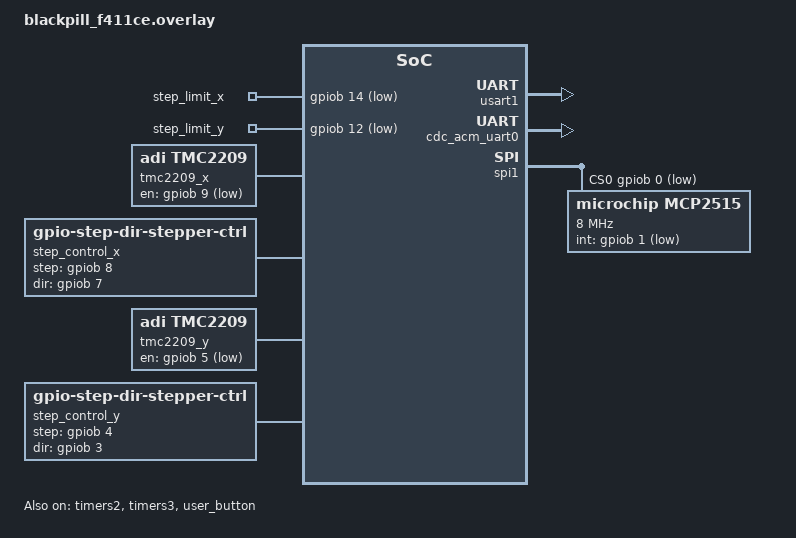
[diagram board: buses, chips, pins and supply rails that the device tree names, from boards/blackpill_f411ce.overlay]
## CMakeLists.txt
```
cmake_minimum_required(VERSION 3.20.0)

find_package(Zephyr REQUIRED HINTS $ENV{ZEPHYR_BASE})

project(gantry)
target_sources(app PRIVATE src/main.c src/steppers.c src/gantry.c)
```

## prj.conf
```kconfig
CONFIG_GPIO=y
CONFIG_LED=y
CONFIG_USB_DEVICE_STACK_NEXT=y
CONFIG_CDC_ACM_SERIAL_INITIALIZE_AT_BOOT=y
CONFIG_STEPPER=y
CONFIG_CAN=y
CONFIG_EVENTS=y
#CONFIG_UART=y
```

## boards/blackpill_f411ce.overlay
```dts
#include <zephyr/dt-bindings/pinctrl/stm32-pinctrl.h>

/ {
  chosen {
    zephyr,console = &cdc_acm_uart0;
    zephyr,shell-uart = &cdc_acm_uart0;
  };

  aliases {
    canbus = &mcp2515;

    steppers-uart = &usart1;

    stepper-driver-x = &tmc2209_x;
    stepper-ctrl-x = &step_control_x;
    stepper-limit-x = &step_limit_x;

    stepper-driver-y = &tmc2209_y;
    stepper-ctrl-y = &step_control_y;
    stepper-limit-y = &step_limit_y;
  };

  buttons {
    compatible = "gpio-keys";

    step_limit_x: limit_x {
      gpios = <&gpiob 14 GPIO_ACTIVE_LOW>;
    };

    step_limit_y: limit_y {
      gpios = <&gpiob 12 GPIO_ACTIVE_LOW>;
    };

  };

  tmc2209_x: stepper-driver-x {
    compatible = "adi,tmc2209";
    en-gpios = <&gpiob 9 GPIO_ACTIVE_LOW>;
  };

  step_control_x: motion-controller-x {
    compatible = "zephyr,gpio-step-dir-stepper-ctrl";
    step-gpios = <&gpiob 8 GPIO_ACTIVE_HIGH>;
    dir-gpios = <&gpiob 7 GPIO_ACTIVE_HIGH>;
    counter = <&counter1>;
    stepper-driver = <&tmc2209_x>;
    invert-direction;
  };

  tmc2209_y: stepper-driver-y {
    compatible = "adi,tmc2209";
    en-gpios = <&gpiob 5 GPIO_ACTIVE_LOW>;
  };

  step_control_y: motion-controller-y {
    compatible = "zephyr,gpio-step-dir-stepper-ctrl";
    step-gpios = <&gpiob 4 GPIO_ACTIVE_HIGH>;
    dir-gpios = <&gpiob 3 GPIO_ACTIVE_HIGH>;
    counter = <&counter2>;
    stepper-driver = <&tmc2209_y>;
    invert-direction;
  };
};

&usart1 {
  status = "okay";
  parity = "none";
  stop-bits = "1";
  data-bits = <8>;
};

&zephyr_udc0 {
  cdc_acm_uart0: cdc_acm_uart0 {
    compatible = "zephyr,cdc-acm-uart";
  };
};

/* 
  Other SPI1 pins:
  PA5 CLK
  PA6 MISO
  PA7 MOSI
*/

&spi1 {
    status = "okay";
    cs-gpios = <&gpiob 0 GPIO_ACTIVE_LOW>;    

    mcp2515: mcp2515@0 {
        compatible = "microchip,mcp2515";
        reg = <0x0>;
        spi-max-frequency = <8000000>;
        int-gpios = <&gpiob 1 GPIO_ACTIVE_LOW>;
        osc-freq = <8000000>; /* 8 MHz crystal */
        status = "okay";
    };
};

&timers2 {
  status="okay";
  counter1: counter {
    status="okay";
  };
};

&timers3 {
  status="okay";
  counter2: counter {
    status="okay";
  };
};

&user_button {
  status="okay";
};
```

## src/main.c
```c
#include "gantry.h"
#include <zephyr/drivers/gpio.h>
#include <zephyr/drivers/led.h>
#include <zephyr/kernel.h>

#define SLEEP_TIME_MS 20
static const struct gpio_dt_spec btn = GPIO_DT_SPEC_GET(DT_ALIAS(sw0), gpios);
static const struct led_dt_spec led = LED_DT_SPEC_GET(DT_ALIAS(led0));

uint8_t cmd_idx;

static void move(enum gantry_pos pos) {
  led_on_dt(&led);
  gantry_move(pos);
  led_off_dt(&led);
}

int main(void) {
  gantry_init();

  enum gantry_pos positions[6] = {POS_A, POS_B, POS_C, POS_D, POS_E, POS_F};

  if (!gpio_is_ready_dt(&btn)) {
    led_on_dt(&led);
    return -1;
  }

  gpio_pin_configure_dt(&btn, GPIO_INPUT);

  while (1) {
    for (int i = 0; i < 6; i++) {
      while (!gpio_pin_get_dt(&btn)) {
        k_msleep(SLEEP_TIME_MS);
      }
      move(positions[i]);

      while (!gpio_pin_get_dt(&btn)) {
        k_msleep(SLEEP_TIME_MS);
      }
      move(POS_HOME);
    }
  }

  return 0;
};
```

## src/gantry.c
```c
#include "gantry.h"
#include "steppers.h"
#include "zephyr/sys/clock.h"
#include <zephyr/kernel.h>

#define STEPPER_MICRO_STEPS_PER_REV                                            \
  (STEPPER_STEPS_PER_REV * STEPPER_MICRO_STEPS_SETTING)

#define Y_AXIS_MM_PER_REV 8 // T8 leadscrew
#define Y_AXIS_MICRO_STEPS_PER_MM                                              \
  (STEPPER_MICRO_STEPS_PER_REV / Y_AXIS_MM_PER_REV)
#define Y_AXIS_MAX_DISTANCE_IN_MM 180

#define X_AXIS_MM_PER_REV 40 // 20 tooth x 2mm
#define X_AXIS_MICRO_STEPS_PER_MM                                              \
  (STEPPER_MICRO_STEPS_PER_REV / X_AXIS_MM_PER_REV)
#define X_AXIS_MAX_DISTANCE_IN_MM 310

#define HOMING_SPEED_Y 20
#define MAX_SPEED_Y 70
#define HOMING_SPEED_X 10
#define MAX_SPEED_X 50

struct coords_in_mm {
  uint32_t x;
  uint32_t y;
};

#define COL_1 308
#define COL_2 220
#define COL_3 130
#define TOP_ROW 175
#define BOTTOM_ROW 0

BUILD_ASSERT(COL_1 <= X_AXIS_MAX_DISTANCE_IN_MM, "COL_1 exceeds X travel");
BUILD_ASSERT(COL_2 <= X_AXIS_MAX_DISTANCE_IN_MM, "COL_2 exceeds X travel");
BUILD_ASSERT(COL_3 <= X_AXIS_MAX_DISTANCE_IN_MM, "COL_3 exceeds X travel");
BUILD_ASSERT(TOP_ROW <= Y_AXIS_MAX_DISTANCE_IN_MM, "TOP_ROW exceeds Y travel");
BUILD_ASSERT(BOTTOM_ROW <= Y_AXIS_MAX_DISTANCE_IN_MM,
             "BOTTOM_ROW exceeds Y travel");

static const struct coords_in_mm positions[NUM_GANTRY_POSITIONS] = {
    [POS_HOME] = {.x = 0, .y = 0},
    [POS_A] = {.x = COL_1, .y = TOP_ROW},
    [POS_B] = {.x = COL_2, .y = TOP_ROW},
    [POS_C] = {.x = COL_3, .y = TOP_ROW},
    [POS_D] = {.x = COL_1, .y = BOTTOM_ROW},
    [POS_E] = {.x = COL_2, .y = BOTTOM_ROW},
    [POS_F] = {.x = COL_3, .y = BOTTOM_ROW}};

static struct k_event gantry_events;
#define EVENT_X_DONE BIT(0)
#define EVENT_Y_DONE BIT(1)
#define EVENT_ABORT BIT(2)

struct axis {
  struct stepper *stepper;
  uint32_t micro_steps_per_mm;
  uint32_t max_distance_in_mm;
  uint32_t done_bit;
};

struct gantry {
  bool calibrated;
  struct axis x;
  struct axis y;
  atomic_t busy;
};

static struct gantry gantry;

/*
  Helpers
*/

// -------------------
// --- Conversions ---
// -------------------

static inline int32_t millimeters_to_steps(struct axis *a, int32_t mm) {
  return a->micro_steps_per_mm * mm;
}

// note: must be sure to call this only after calibration
static inline int32_t get_curr_axis_pos_in_mm(struct axis *a) {
  int32_t pos;
  stepper_read_curr_step_count(a->stepper, &pos);
  return pos / a->micro_steps_per_mm;
}

static inline const struct coords_in_mm *
get_coords_for_position(enum gantry_pos pos) {
  return &positions[pos];
}

// --------------
// ---- Wait ----
// --------------
static enum gantry_result wait_for_axes(uint32_t axes_mask, int timeout_s) {
  uint32_t done = 0;

  k_timepoint_t deadline = sys_timepoint_calc(K_SECONDS(timeout_s));

  enum gantry_result res = GANTRY_OK;

  while ((done & axes_mask) != axes_mask) {
    uint32_t ev =
        k_event_wait(&gantry_events, (~done & axes_mask) | EVENT_ABORT, false,
                     sys_timepoint_timeout(deadline));

    if (ev == 0) {
      res = GANTRY_ERR_TIMEOUT;
      break;
    }

    if (ev & EVENT_ABORT) {
      res = GANTRY_HALTED;
      break;
    }

    done |= ev & axes_mask;
  }

  k_event_clear(&gantry_events, EVENT_X_DONE | EVENT_Y_DONE | EVENT_ABORT);

  return res;
}

// -----------------------------
// ---- Movement Primitives ----
// -----------------------------
static void axis_move_to_mm_pos(struct axis *a, int target_mm, uint8_t speed) {
  int32_t move_delta = target_mm - get_curr_axis_pos_in_mm(a);

  if (target_mm == 0) {
    stepper_run_until_limit_hit(a->stepper, speed);
  } else {
    stepper_set_speed(a->stepper, speed);
    stepper_move_steps(a->stepper, millimeters_to_steps(a, move_delta));
  }
}

static enum gantry_result axis_move_and_wait(struct axis *a, int target_mm,
                                             uint8_t speed, int timeout_s) {
  axis_move_to_mm_pos(a, target_mm, speed);
  return wait_for_axes(a->done_bit, timeout_s);
}

// ---------------------
// ---- Calibration ----
// ---------------------

static enum gantry_result axis_calibrate(struct axis *a) {
  /*
    If the switch is already engaged, back things up slightly,
    then assert it is no longer engaged before proceeding.
    This adds extra assurance that an engaged switch is an accurate reading.
  */
  struct stepper *s = a->stepper;
  uint8_t speed = (a == &gantry.x) ? HOMING_SPEED_X : HOMING_SPEED_Y;

  enum gantry_result res;

  if (stepper_get_is_at_limit(s)) {
    stepper_set_speed(s, speed);
    stepper_move_steps(s, millimeters_to_steps(a, 10));
    res = wait_for_axes(a->done_bit, 5);
    if (res != GANTRY_OK) {
      return res;
    }
    k_msleep(100);
    if (stepper_get_is_at_limit(s)) {
      return GANTRY_ERR_SW_FAILURE;
    }
  }

  stepper_run_until_limit_hit(s, speed);
  res = wait_for_axes(a->done_bit, 30);
  if (res != GANTRY_OK) {
    return res;
  }
  if (!stepper_get_is_at_limit(s)) {
    return GANTRY_ERR_SW_FAILURE;
  }

  return GANTRY_OK;
}

static enum gantry_result gantry_calibrate(void) {
  enum gantry_result res = axis_calibrate(&gantry.y);
  if (res == GANTRY_OK) {
    res = axis_calibrate(&gantry.x);
  }

  gantry.calibrated = res == GANTRY_OK;
  return res;
}

// ---------------------------
// ---- Movement handlers ----
// ---------------------------

static enum gantry_result gantry_move_to_home(void) {
  struct coords_in_mm home = positions[POS_HOME];

  enum gantry_result res =
      axis_move_and_wait(&gantry.y, home.y, HOMING_SPEED_Y, 30);
  if (res == GANTRY_OK) {
    res = axis_move_and_wait(&gantry.x, home.x, HOMING_SPEED_X, 30);
  }

  return res;
}

static enum gantry_result gantry_move_to_cubby(enum gantry_pos pos) {
  enum gantry_result res;
  if (!gantry.calibrated) {
    res = gantry_calibrate();
    if (res != GANTRY_OK) {
      return res; // prevent originally requested move
    }
    k_msleep(500); // smoother movement with slight pause
  }

  const struct coords_in_mm *target = get_coords_for_position(pos);

  axis_move_to_mm_pos(&gantry.x, target->x, MAX_SPEED_X);
  axis_move_to_mm_pos(&gantry.y, target->y, MAX_SPEED_Y);

  res = wait_for_axes(gantry.x.done_bit | gantry.y.done_bit, 15);
  return res;
}

/*
  Public API
*/

int gantry_init(void) {
  int ret;
  if ((ret = steppers_init()) < 0) {
    return ret;
  }

  gantry.calibrated = false;
  atomic_clear(&gantry.busy);

  gantry.x = (struct axis){
      .stepper = stepper_get(STEPPER_X_AXIS),
      .micro_steps_per_mm = X_AXIS_MICRO_STEPS_PER_MM,
      .max_distance_in_mm = X_AXIS_MAX_DISTANCE_IN_MM,
      .done_bit = EVENT_X_DONE,
  };
  gantry.y = (struct axis){
      .stepper = stepper_get(STEPPER_Y_AXIS),
      .micro_steps_per_mm = Y_AXIS_MICRO_STEPS_PER_MM,
      .max_distance_in_mm = Y_AXIS_MAX_DISTANCE_IN_MM,
      .done_bit = EVENT_Y_DONE,
  };

  k_event_init(&gantry_events);
  stepper_set_done_event(gantry.x.stepper, &gantry_events, gantry.x.done_bit);
  stepper_set_done_event(gantry.y.stepper, &gantry_events, gantry.y.done_bit);

  return 0;
}

enum gantry_result gantry_move(enum gantry_pos pos) {
  if (atomic_get(&gantry.busy)) {
    return GANTRY_ERR_BUSY;
  }

  atomic_set(&gantry.busy, 1);
  enum gantry_result res;
  res = pos == POS_HOME ? gantry_move_to_home() : gantry_move_to_cubby(pos);
  atomic_clear(&gantry.busy);
  return res;
}

void gantry_halt(void) {
  stepper_stop(gantry.x.stepper);
  stepper_stop(gantry.y.stepper);
  k_event_post(&gantry_events, EVENT_ABORT);
  return;
}
```

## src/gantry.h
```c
#pragma once

enum gantry_pos {
  POS_HOME,
  POS_A,
  POS_B,
  POS_C,
  POS_D,
  POS_E,
  POS_F,
  NUM_GANTRY_POSITIONS
};

enum gantry_result {
  GANTRY_OK,
  GANTRY_HALTED, // when intentionally halted
  GANTRY_ERR_BUSY,
  GANTRY_ERR_SW_FAILURE,
  GANTRY_ERR_TIMEOUT,
};

int gantry_init(void);

// gantry_move is a blocking call until move finishes, errs,
// or gets halted by another thread.
enum gantry_result gantry_move(enum gantry_pos target_pos);

// gantry_halt can be called at any time from any thread.
// if a move is in progress on another thread,
// that move will end with a GANTRY_HALTED result.
void gantry_halt(void);
```

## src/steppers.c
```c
#include "steppers.h"
#include <stdint.h>
#include <zephyr/drivers/gpio.h>
#include <zephyr/drivers/stepper/stepper.h>
#include <zephyr/drivers/stepper/stepper_ctrl.h>
#include <zephyr/drivers/uart.h>
#include <zephyr/kernel.h>

// #define INCLUDE_STEPPER_UART_READS
#define DIR_OF_LIMIT_SWITCH STEPPER_CTRL_DIRECTION_NEGATIVE

struct stepper {
  const char name;
  // hardware handles
  const struct device *driver;
  const struct device *ctrl;
  const struct gpio_dt_spec limit_sw;

  // signals for completion
  struct k_event *done_ev;
  uint32_t done_mask;

  // internal async
  struct gpio_callback limit_cb;
  struct k_work_delayable limit_rearm_work;
  atomic_t limit_latched;
  atomic_t moving_towards_limit;
};

static struct stepper steppers[STEPPER_AXIS_COUNT] = {
    [STEPPER_X_AXIS] =
        {
            .name = 'X',
            .driver = DEVICE_DT_GET(DT_ALIAS(stepper_driver_x)),
            .ctrl = DEVICE_DT_GET(DT_ALIAS(stepper_ctrl_x)),
            .limit_sw = GPIO_DT_SPEC_GET(DT_ALIAS(stepper_limit_x), gpios),
        },
    [STEPPER_Y_AXIS] = {
        .name = 'Y',
        .driver = DEVICE_DT_GET(DT_ALIAS(stepper_driver_y)),
        .ctrl = DEVICE_DT_GET(DT_ALIAS(stepper_ctrl_y)),
        .limit_sw = GPIO_DT_SPEC_GET(DT_ALIAS(stepper_limit_y), gpios),
    }};

static const struct device *const uart_dev =
    DEVICE_DT_GET(DT_ALIAS(steppers_uart));

/*
  Helpers
*/

// --- Steppers UART ---
// per
// https://www.analog.com/media/en/technical-documentation/data-sheets/tmc2209_datasheet_rev1.09.pdf
#define TMC2209_SYNC 0x05

// pg. 23
#define GCONF_REG_ADDR 0x00
#define GCONF_PDN_DISABLE (0x1 << 6)
#define GCONF_MSTEP_REG_SELECT_UART (0x1 << 7) // rather than ms1/ms2 pins
#define GCONF_VALS (GCONF_PDN_DISABLE | GCONF_MSTEP_REG_SELECT_UART)

#define IFCNT 0x02

#define CHOPCONF_REG_ADDR 0x6C
#define CHOPCONF_MRES(s) (((s) & 0xF) << 24)
#define MRES_8 0x5
// #define MRES_16 0x4

// taking these defaults from pg. 70
#define CHOPCONF_TOFF (0x5)
#define CHOPCONF_TBL (0x2 << 15)
#define CHOPCONF_HSTART (0x4 << 4)
#define CHOPCONF_HEND (0 << 7)
#define CHOPCONF_VALS                                                          \
  (CHOPCONF_TOFF | CHOPCONF_TBL | CHOPCONF_HSTART | CHOPCONF_HEND |            \
   CHOPCONF_MRES(MRES_8))

// pg. 28
#define IHOLD_IRUN_REG_ADDR 0x10
#define IHOLD_IRUN_IHOLD(v) ((v) & 0x1F)
#define IHOLD_IRUN_IRUN(v) (((v) & 0x1F) << 8)
#define IHOLD_IRUN_IHOLDDELAY(v) (((v) & 0xF) << 16)
// targeting max 1A, formula on pg. 53
#define IHOLD_IRUN_VALS                                                        \
  (IHOLD_IRUN_IHOLD(2) | IHOLD_IRUN_IRUN(16) | IHOLD_IRUN_IHOLDDELAY(4))

#define MIN_NS_INTERVAL 100000
#define NS_INTERVAL_PER_TICK (MIN_NS_INTERVAL / 100)
#define NS_INTERVAL_SLOWEST (MIN_NS_INTERVAL + (NS_INTERVAL_PER_TICK * 100))

#define TMC2209_BUS_ADDR 0x0 // using same for both steppers (sharing configs)

struct datagram {
  uint8_t sync;
  uint8_t node_addr; // 0 - 3
  uint8_t reg;       // highest bit is the read/or write, 7 remaining are addr
  uint8_t data[4];   // big endian
  uint8_t crc;
};

// per pg. 20 of tmc2209 datasheet
void add_crc(uint8_t *datagram, uint8_t len) {
  int i, j;
  uint8_t *crc = datagram + (len - 1); // CRC located in last byte of message
  uint8_t currentByte;
  *crc = 0;
  for (i = 0; i < (len - 1); i++) { // Execute for all bytes of a message
    currentByte = datagram[i];      // Retrieve a byte to be sent from Array
    for (j = 0; j < 8; j++) {
      if ((*crc >> 7) ^
          (currentByte & 0x01)) // update CRC based result of XOR operation
      {
        *crc = (*crc << 1) ^ 0x07;
      } else {
        *crc = (*crc << 1);
      }
      currentByte = currentByte >> 1;
    } // for CRC bit
  } // for message byte
}

static void build_write_datagram(struct datagram *dg, uint8_t dev_addr,
                                 uint8_t reg, uint32_t value) {
  dg->sync = TMC2209_SYNC;
  dg->node_addr = dev_addr;
  dg->reg = reg | 0x80;      // always write mode
  dg->data[0] = value >> 24; // swap to big endian
  dg->data[1] = value >> 16;
  dg->data[2] = value >> 8;
  dg->data[3] = value >> 0;
  add_crc((uint8_t *)dg, sizeof(struct datagram));
}

void uart_write(uint8_t reg, uint32_t value) {
  struct datagram dg;
  build_write_datagram(&dg, TMC2209_BUS_ADDR, reg, value);

  uint8_t *dg_bytes = (uint8_t *)&dg;
  for (int i = 0; i < sizeof(struct datagram); i++) {
    uart_poll_out(uart_dev, dg_bytes[i]);
  }
}

#ifdef INCLUDE_STEPPER_UART_READS
struct datagram_read {
  uint8_t sync;
  uint8_t node_addr;
  uint8_t reg;
  uint8_t crc;
};

static void build_read_datagram(struct datagram_read *dg, uint8_t dev_addr,
                                uint8_t reg) {
  dg->sync = TMC2209_SYNC;
  dg->node_addr = dev_addr;
  dg->reg = reg;
  add_crc((uint8_t *)dg, sizeof(struct datagram_read));
}
// used just for debugging with logic analyzer
void read(uint8_t reg) {
  struct datagram_read dgr;
  uint8_t *dgr_bytes = (uint8_t *)&dgr;

  build_read_datagram(&dgr, TMC2209_BUS_ADDR, reg);
  for (int i = 0; i < sizeof(struct datagram_read); i++) {
    uart_poll_out(uart_dev, dgr_bytes[i]);
  }
  k_msleep(1);
}
#endif

// Events

static inline void stepper_done_event(struct stepper *s) {
  if (s->done_ev) {
    k_event_post(s->done_ev, s->done_mask);
  }
}

// -------------------------
// ---- Limit Switches -----
// -------------------------

#define LIMIT_REARM_MS 20

static void limit_switch_isr(const struct device *port,
                             struct gpio_callback *cb, uint32_t pins) {
  struct stepper *s = CONTAINER_OF(cb, struct stepper, limit_cb);

  if (!s->moving_towards_limit) {
    return; // ignore bouncing if moving away from switch
  }

  if (!atomic_cas(&s->limit_latched, 0, 1)) {
    return; // already tripped, ignore bounce
  }
  stepper_stop(s);
  stepper_ctrl_set_reference_position(s->ctrl, 0);
  stepper_done_event(s);
  k_work_reschedule(&s->limit_rearm_work, K_MSEC(LIMIT_REARM_MS));
}

static void limit_rearm_handler(struct k_work *work) {
  struct k_work_delayable *d = k_work_delayable_from_work(work);
  struct stepper *s = CONTAINER_OF(d, struct stepper, limit_rearm_work);

  atomic_clear(&s->limit_latched);
}

// ----------------------
// ---- Motor Events ----
// ----------------------

static void stepper_event_callback(const struct device *dev,
                                   const enum stepper_ctrl_event event,
                                   void *user_data) {

  switch (event) {
  case STEPPER_CTRL_EVENT_STEPS_COMPLETED:
    struct stepper *s = (struct stepper *)user_data;
    atomic_clear(&s->moving_towards_limit);
    stepper_done_event(s);
    break;
  default:
    break;
  }
}

// --------------
// ---- Misc ----
// --------------

static inline uint64_t get_microstep_interval(uint8_t speed) {
  return NS_INTERVAL_SLOWEST - (NS_INTERVAL_PER_TICK * speed);
};

void log_err(const struct stepper *stepper, const char *msg) {
  printk("Error - Stepper %c: %s\n", stepper->name, msg);
}

static inline bool is_valid_speed(uint8_t speed) {
  return (speed > 0 && speed <= 100);
}

/*
  Public API
*/

int steppers_init(void) {
  int ret;

  struct stepper *stepper;
  for (int i = 0; i < STEPPER_AXIS_COUNT; i++) {
    stepper = &steppers[i];
    // Setup driver and controller
    if (!device_is_ready(stepper->driver)) {
      log_err(stepper, "failed to init driver");
      return -ENODEV;
    }

    if ((ret = stepper_enable(stepper->ctrl)) < 0) {
      log_err(stepper, "failed to init controller");
      return ret;
    }

    // Setup limit switch
    if (!gpio_is_ready_dt(&stepper->limit_sw)) {
      log_err(stepper, "failed to init limit switch");
      return -ENODEV;
    }

    if ((ret = gpio_pin_configure_dt(&stepper->limit_sw, GPIO_INPUT)) < 0) {
      log_err(stepper, "failed to configure limit as input");
      return ret;
    }

    gpio_init_callback(&stepper->limit_cb, limit_switch_isr,
                       BIT(stepper->limit_sw.pin));
    gpio_add_callback(stepper->limit_sw.port, &stepper->limit_cb);
    if ((ret = gpio_pin_interrupt_configure_dt(&stepper->limit_sw,
                                               GPIO_INT_EDGE_TO_ACTIVE)) < 0) {
      log_err(stepper, "faled to configure limit interrupt");
      return ret;
    }

    k_work_init_delayable(&stepper->limit_rearm_work, limit_rearm_handler);
    k_msleep(LIMIT_REARM_MS);

    // Movement completion cb setup
    stepper_ctrl_set_event_cb(stepper->ctrl, stepper_event_callback, stepper);
  }

  // uart config
  // both steppers share the same bus address 0, same config for both
  if (!device_is_ready(uart_dev)) {
    return -ENODEV;
  }
  uart_write(GCONF_REG_ADDR, GCONF_VALS);
  uart_write(IHOLD_IRUN_REG_ADDR, IHOLD_IRUN_VALS);
  uart_write(CHOPCONF_REG_ADDR, CHOPCONF_VALS);

  return 0;
};

struct stepper *stepper_get(enum stepper_axis axis) { return &steppers[axis]; }

void stepper_set_done_event(struct stepper *s, struct k_event *done_ev,
                            uint32_t done_mask) {
  s->done_ev = done_ev;
  s->done_mask = done_mask;
}

int stepper_stop(struct stepper *s) { return stepper_ctrl_stop(s->ctrl); }

bool stepper_get_is_at_limit(struct stepper *s) {
  return atomic_get(&s->limit_latched) || gpio_pin_get_dt(&s->limit_sw);
}

int stepper_read_curr_step_count(struct stepper *s, int32_t *pos) {
  return stepper_ctrl_get_actual_position(s->ctrl, pos);
}

int stepper_run_until_limit_hit(struct stepper *s, uint8_t speed) {
  if (stepper_get_is_at_limit(s)) {
    stepper_done_event(s);
    return 0;
  }

  int ret = stepper_set_speed(s, speed);
  if (ret != 0) {
    return ret;
  }

  atomic_set(&s->moving_towards_limit, 1);
  stepper_ctrl_run(s->ctrl, DIR_OF_LIMIT_SWITCH);
  return 0;
}

int stepper_set_speed(struct stepper *s, uint8_t speed) {
  if (!is_valid_speed(speed)) {
    return -EINVAL;
  }

  uint64_t ns_interval = get_microstep_interval(speed);
  return stepper_ctrl_set_microstep_interval(s->ctrl, ns_interval);
}

int stepper_move_steps(struct stepper *s, int32_t micro_steps) {
  if (micro_steps == 0) {
    // do nothing
    stepper_done_event(s);
    return 0;
  }

  // limit is at absolute position 0.
  atomic_set(&s->moving_towards_limit, micro_steps < 0);

  return stepper_ctrl_move_by(s->ctrl, micro_steps);
}
```

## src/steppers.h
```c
#pragma once
#include <zephyr/drivers/stepper/stepper_ctrl.h>

#define STEPPER_STEPS_PER_REV 200
#define STEPPER_MICRO_STEPS_SETTING 8
#define STEPPER_MICRO_STEPS_PER_REV                                            \
  (STEPPER_STEPS_PER_REV * STEPPER_MICRO_STEPS_SETTING)

struct stepper;

#define STEPPER_AXIS_COUNT 2
enum stepper_axis { STEPPER_X_AXIS = 0, STEPPER_Y_AXIS };

struct stepper_run_conf {
  uint8_t speed; // min 1, max 100
  enum stepper_ctrl_direction dir;
};

int steppers_init(void);
struct stepper *stepper_get(enum stepper_axis axis);

void stepper_set_done_event(struct stepper *s, struct k_event *done_ev, uint32_t done_mask);

int stepper_stop(struct stepper *s);

/* Limit related funcs */
bool stepper_get_is_at_limit(struct stepper *s);
int stepper_read_curr_step_count(struct stepper *s, int32_t *pos);
int stepper_run_until_limit_hit(struct stepper *s, uint8_t speed);

int stepper_set_speed(struct stepper *s, uint8_t speed);
int stepper_move_steps(struct stepper *s, int32_t steps);
```
